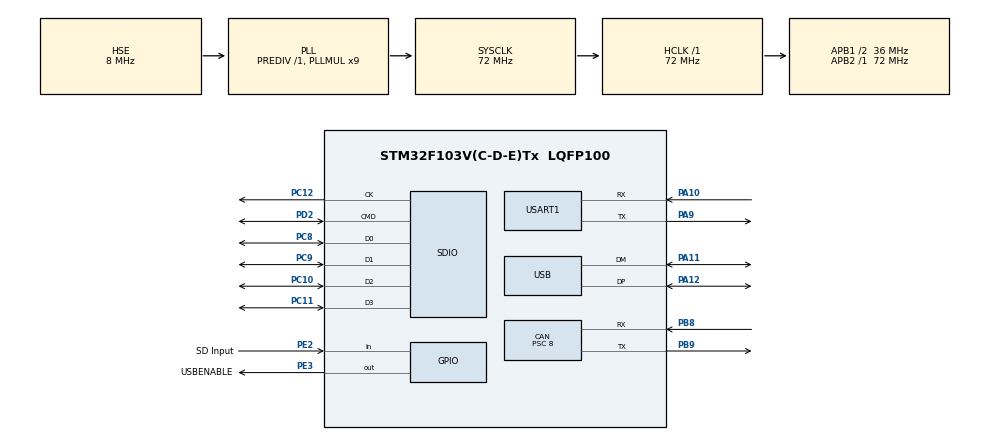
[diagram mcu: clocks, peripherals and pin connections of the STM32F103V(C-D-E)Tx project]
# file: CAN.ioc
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CAN.BS1=CAN_BS1_4TQ
CAN.BS2=CAN_BS2_4TQ
CAN.CalculateBaudRate=500000
CAN.CalculateTimeBit=2000
CAN.CalculateTimeQuantum=222.22222222222223
CAN.Prescaler=8
FATFS.BSP.number=1
FATFS._CODE_PAGE=936
FATFS._USE_LFN=2
FATFS0.BSP.STBoard=false
FATFS0.BSP.api=Unknown
FATFS0.BSP.i2caddr=0
FATFS0.BSP.instance=PE2
FATFS0.BSP.ip=GPIO
FATFS0.BSP.mode=Input
FATFS0.BSP.name=Detect_SDIO
FATFS0.BSP.solution=PE2
FREERTOS.Tasks01=StartTask,0,256,StartTaskEnter,Default,NULL,Dynamic,NULL,NULL;StatusTask,-2,128,StatusTaskEnter,Default,NULL,Dynamic,NULL,NULL
FREERTOS.configCHECK_FOR_STACK_OVERFLOW=2
FREERTOS.configGENERATE_RUN_TIME_STATS=0
FREERTOS.configRECORD_STACK_HIGH_ADDRESS=1
FREERTOS.configTICK_RATE_HZ=1000
FREERTOS.configTOTAL_HEAP_SIZE=30072
FREERTOS.configUSE_APPLICATION_TASK_TAG=0
FREERTOS.configUSE_COUNTING_SEMAPHORES=0
FREERTOS.configUSE_CO_ROUTINES=0
FREERTOS.configUSE_MALLOC_FAILED_HOOK=1
FREERTOS.configUSE_RECURSIVE_MUTEXES=0
FREERTOS.configUSE_STATS_FORMATTING_FUNCTIONS=1
FREERTOS.configUSE_TIMERS=0
FREERTOS.configUSE_TRACE_FACILITY=0
Mcu.Family=STM32F1
Mcu.Name=STM32F103V(C-D-E)Tx
Mcu.Package=LQFP100
NVIC.PriorityGroup=NVIC_PRIORITYGROUP_4
NVIC.TIM1_UP_IRQn=true\:15\:0\:false\:false\:true\:false\:false\:true
NVIC.TIM2_IRQn=true\:5\:0\:false\:false\:true\:true\:true\:true
NVIC.TimeBase=TIM1_UP_IRQn
NVIC.TimeBaseIP=TIM1
NVIC.USB_LP_CAN1_RX0_IRQn=true\:5\:0\:false\:false\:true\:true\:false\:true
OSC_IN.Mode=HSE-External-Oscillator
OSC_IN.Signal=RCC_OSC_IN
OSC_OUT.Mode=HSE-External-Oscillator
OSC_OUT.Signal=RCC_OSC_OUT
PA10.Mode=Asynchronous
PA10.Signal=USART1_RX
PA11.Mode=Device
PA11.Signal=USB_DM
PA12.Mode=Device
PA12.Signal=USB_DP
PA13.Mode=JTAG_4_pins
PA13.Signal=SYS_JTMS-SWDIO
PA14.Mode=JTAG_4_pins
PA14.Signal=SYS_JTCK-SWCLK
PA15.Mode=JTAG_4_pins
PA15.Signal=SYS_JTDI
PA9.Mode=Asynchronous
PA9.Signal=USART1_TX
PB3.Mode=JTAG_4_pins
PB3.Signal=SYS_JTDO-TRACESWO
PB8.Mode=CAN_Activate
PB8.Signal=CAN_RX
PB9.Mode=CAN_Activate
PB9.Signal=CAN_TX
PC10.Mode=SD_4_bits_Wide_bus
PC10.Signal=SDIO_D2
PC11.Mode=SD_4_bits_Wide_bus
PC11.Signal=SDIO_D3
PC12.Mode=SD_4_bits_Wide_bus
PC12.Signal=SDIO_CK
PC8.Mode=SD_4_bits_Wide_bus
PC8.Signal=SDIO_D0
PC9.Mode=SD_4_bits_Wide_bus
PC9.Signal=SDIO_D1
PD2.Mode=SD_4_bits_Wide_bus
PD2.Signal=SDIO_CMD
PE2.GPIO_Label=SD Input
PE2.Signal=GPIO_Input
PE3.GPIO_Label=USBENABLE
PE3.Signal=GPIO_Output
ProjectManager.HeapSize=0x2000
ProjectManager.StackSize=0x2000
ProjectManager.TargetToolchain=MDK-ARM V5.27
RCC.AHBFreq_Value=72000000
RCC.APB1CLKDivider=RCC_HCLK_DIV2
RCC.APB1Freq_Value=36000000
RCC.APB1TimFreq_Value=72000000
RCC.APB2Freq_Value=72000000
RCC.APB2TimFreq_Value=72000000
RCC.HCLKFreq_Value=72000000
RCC.PLLMUL=RCC_PLL_MUL9
RCC.PLLSourceVirtual=RCC_PLLSOURCE_HSE
RCC.SYSCLKFreq_VALUE=72000000
RCC.SYSCLKSource=RCC_SYSCLKSOURCE_PLLCLK
RCC.USBFreq_Value=48000000
RCC.USBPrescaler=RCC_USBCLKSOURCE_PLL_DIV1_5
SDIO.ClockDiv=2
TIM2.AutoReloadPreload=TIM_AUTORELOAD_PRELOAD_ENABLE
TIM2.TIM_MasterOutputTrigger=TIM_TRGO_UPDATE
USART1.VirtualMode=VM_ASYNC
USB_DEVICE.CLASS_NAME_FS=MSC
USB_DEVICE.USBD_DEBUG_LEVEL=3
USB_DEVICE.VirtualMode=Msc
USB_DEVICE.VirtualModeFS=Msc_FS
VP_FATFS_VS_SDIO.Mode=SDIO
VP_FREERTOS_VS_CMSIS_V1.Mode=CMSIS_V1
VP_SYS_VS_tim1.Mode=TIM1
VP_TIM2_VS_ClockSourceINT.Mode=Internal
VP_USB_DEVICE_VS_USB_DEVICE_MSC_FS.Mode=MSC_FS
board=custom

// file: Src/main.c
/* USER CODE BEGIN Header */
/**
 ******************************************************************************
 * @file           : main.c
 * @brief          : Main program body
 ******************************************************************************
 * @attention
 *
 * <h2><center>&copy; Copyright (c) 2021 STMicroelectronics.
 * All rights reserved.</center></h2>
 *
 * This software component is licensed by ST under Ultimate Liberty license
 * SLA0044, the "License"; You may not use this file except in compliance with
 * the License. You may obtain a copy of the License at:
 *                             www.st.com/SLA0044
 *
 ******************************************************************************
 */
/* USER CODE END Header */
#include "main.h"
#include "cmsis_os.h"
#include "fatfs.h"
#include "usb_device.h"

/* USER CODE BEGIN Includes */
#include "bsp103.h"
#include "cm_backtrace.h"

/*主要看用来任务控制函数状态*/
typedef struct tskTaskControlBlock
{
  volatile StackType_t *pxTopOfStack; /*< Points to the location of the last item placed on the tasks stack.  THIS MUST BE THE FIRST MEMBER OF THE TCB STRUCT. */

#if (portUSING_MPU_WRAPPERS == 1)
  xMPU_SETTINGS xMPUSettings; /*< The MPU settings are defined as part of the port layer.  THIS MUST BE THE SECOND MEMBER OF THE TCB STRUCT. */
#endif

  ListItem_t xStateListItem;                                                                                                     /*< The list that the state list item of a task is reference from denotes the state of that task (Ready, Blocked, Suspended ). */
  ListItem_t xEventListItem;                                                                                                     /*< Used to reference a task from an event list. */
  UBaseType_t uxPriority;                                                                                                        /*< The priority of the task.  0 is the lowest priority. */
  StackType_t *pxStack;                                                                                                          /*< Points to the start of the stack. */
  char pcTaskName[configMAX_TASK_NAME_LEN]; /*< Descriptive name given to the task when created.  Facilitates debugging only. */ /*lint !e971 Unqualified char types are allowed for strings and single characters only. */

#if ((portSTACK_GROWTH > 0) || (configRECORD_STACK_HIGH_ADDRESS == 1))
  StackType_t *pxEndOfStack; /*< Points to the highest valid address for the stack. */
#endif

#if (portCRITICAL_NESTING_IN_TCB == 1)
  UBaseType_t uxCriticalNesting; /*< Holds the critical section nesting depth for ports that do not maintain their own count in the port layer. */
#endif

#if (configUSE_TRACE_FACILITY == 1)
  UBaseType_t uxTCBNumber;  /*< Stores a number that increments each time a TCB is created.  It allows debuggers to determine when a task has been deleted and then recreated. */
  UBaseType_t uxTaskNumber; /*< Stores a number specifically for use by third party trace code. */
#endif

#if (configUSE_MUTEXES == 1)
  UBaseType_t uxBasePriority; /*< The priority last assigned to the task - used by the priority inheritance mechanism. */
  UBaseType_t uxMutexesHeld;
#endif

#if (configUSE_APPLICATION_TASK_TAG == 1)
  TaskHookFunction_t pxTaskTag;
#endif

#if (configNUM_THREAD_LOCAL_STORAGE_POINTERS > 0)
  void *pvThreadLocalStoragePointers[configNUM_THREAD_LOCAL_STORAGE_POINTERS];
#endif

#if (configGENERATE_RUN_TIME_STATS == 1)
  uint32_t ulRunTimeCounter; /*< Stores the amount of time the task has spent in the Running state. */
#endif

#if (configUSE_NEWLIB_REENTRANT == 1)
  /* Allocate a Newlib reent structure that is specific to this task.
  Note Newlib support has been included by popular demand, but is not
  used by the FreeRTOS maintainers themselves.  FreeRTOS is not
  responsible for resulting newlib operation.  User must be familiar with
  newlib and must provide system-wide implementations of the necessary
  stubs. Be warned that (at the time of writing) the current newlib design
  implements a system-wide malloc() that must be provided with locks. */
  struct _reent xNewLib_reent;
#endif

#if (configUSE_TASK_NOTIFICATIONS == 1)
  volatile uint32_t ulNotifiedValue;
  volatile uint8_t ucNotifyState;
#endif

/* See the comments above the definition of
tskSTATIC_AND_DYNAMIC_ALLOCATION_POSSIBLE. */
#if (tskSTATIC_AND_DYNAMIC_ALLOCATION_POSSIBLE != 0) /*lint !e731 Macro has been consolidated for readability reasons. */
  uint8_t ucStaticallyAllocated;                     /*< Set to pdTRUE if the task is a statically allocated to ensure no attempt is made to free the memory. */
#endif

#if (INCLUDE_xTaskAbortDelay == 1)
  uint8_t ucDelayAborted;
#endif
/*
主要给CM_BACKTRAC使用,主要追踪HART_FAULT
*/
#if (portSTACK_GROWTH <= 0)
  UBaseType_t uxSizeOfStack; /*< Support For CmBacktrace >*/
#endif

} tskTCB;

/*任务控制块指针*/
tskTCB *StartHandler1;
tskTCB *StartHandler2;
extern void dataProcessing(osThreadId *Thread_P);
/* USER CODE END Includes */

/* USER CODE BEGIN PTD */

DeviceState gState = DEV_START_RECORD;
/* USER CODE END PTD */

CAN_HandleTypeDef hcan;

SD_HandleTypeDef hsd;

TIM_HandleTypeDef htim2;

UART_HandleTypeDef huart1;

osThreadId StartTaskHandle;
osThreadId StatusTaskHandle;
/* USER CODE BEGIN PV */
/*用来计时的任务*/
osThreadId TimeScaleHandle;
/* USER CODE END PV */

void SystemClock_Config(void);
static void MX_GPIO_Init(void);
static void MX_SDIO_SD_Init(void);
// static void MX_USART1_UART_Init(void);
static void MX_CAN_Init(void);
static void MX_TIM2_Init(void);
void StartTaskEnter(void const *argument);
void StatusTaskEnter(void const *argument);

/* USER CODE BEGIN PFP */
void TimeScaleEnter(void const *argument);
/* USER CODE END PFP */

int main(void)
{
  /* USER CODE BEGIN 1 */
  cm_backtrace_init("CmBacktrace", "V1.0.0", "V1.0.0"); //初始化CM_BACKTRACE
  /* USER CODE END 1 */

  /* MCU Configuration--------------------------------------------------------*/

  /* Reset of all peripherals, Initializes the Flash interface and the Systick. */
  HAL_Init();

  /* Configure the system clock */
  SystemClock_Config();

  /* USER CODE BEGIN SysInit */
  MX_GPIO_Init();
  MX_SDIO_SD_Init();
  MX_TIM2_Init();
#if 0
  /* USER CODE END SysInit */

  /* Initialize all configured peripherals */
  MX_GPIO_Init();
  MX_SDIO_SD_Init();
  MX_USART1_UART_Init();
  MX_FATFS_Init();
  MX_CAN_Init();
  MX_TIM2_Init();
  /* USER CODE BEGIN 2 */
#endif
  /* USER CODE END 2 */

  /* Create the thread(s) */
  /* definition and creation of StartTask */
  osThreadDef(StartTask, StartTaskEnter, osPriorityNormal, 0, 800);
  StartTaskHandle = osThreadCreate(osThread(StartTask), NULL);

  /* definition and creation of StatusTask */
  osThreadDef(StatusTask, StatusTaskEnter, osPriorityLow, 0, 128);
  StatusTaskHandle = osThreadCreate(osThread(StatusTask), NULL);

  /* USER CODE BEGIN RTOS_THREADS */
  StartHandler1 = StartTaskHandle;
  StartHandler2 = StatusTaskHandle;
  /* add threads, ... */
  /* USER CODE END RTOS_THREADS */

  /* Start scheduler */
  osKernelStart();

  /* We should never get here as control is now taken by the scheduler */
  /* Infinite loop */
  while (1)
  {

  }
}

void SystemClock_Config(void)
{
  RCC_OscInitTypeDef RCC_OscInitStruct = {0};
  RCC_ClkInitTypeDef RCC_ClkInitStruct = {0};
  RCC_PeriphCLKInitTypeDef PeriphClkInit = {0};

  /** Initializes the RCC Oscillators according to the specified parameters
   * in the RCC_OscInitTypeDef structure.
   */
  RCC_OscInitStruct.OscillatorType = RCC_OSCILLATORTYPE_HSE;
  RCC_OscInitStruct.HSEState = RCC_HSE_ON;
  RCC_OscInitStruct.HSEPredivValue = RCC_HSE_PREDIV_DIV1;
  RCC_OscInitStruct.HSIState = RCC_HSI_ON;
  RCC_OscInitStruct.PLL.PLLState = RCC_PLL_ON;
  RCC_OscInitStruct.PLL.PLLSource = RCC_PLLSOURCE_HSE;
  RCC_OscInitStruct.PLL.PLLMUL = RCC_PLL_MUL9;
  if (HAL_RCC_OscConfig(&RCC_OscInitStruct) != HAL_OK)
  {
    Error_Handler();
  }
  /** Initializes the CPU, AHB and APB buses clocks
   */
  RCC_ClkInitStruct.ClockType = RCC_CLOCKTYPE_HCLK | RCC_CLOCKTYPE_SYSCLK | RCC_CLOCKTYPE_PCLK1 | RCC_CLOCKTYPE_PCLK2;
  RCC_ClkInitStruct.SYSCLKSource = RCC_SYSCLKSOURCE_PLLCLK;
  RCC_ClkInitStruct.AHBCLKDivider = RCC_SYSCLK_DIV1;
  RCC_ClkInitStruct.APB1CLKDivider = RCC_HCLK_DIV2;
  RCC_ClkInitStruct.APB2CLKDivider = RCC_HCLK_DIV1;

  if (HAL_RCC_ClockConfig(&RCC_ClkInitStruct, FLASH_LATENCY_2) != HAL_OK)
  {
    Error_Handler();
  }
  PeriphClkInit.PeriphClockSelection = RCC_PERIPHCLK_USB;
  PeriphClkInit.UsbClockSelection = RCC_USBCLKSOURCE_PLL_DIV1_5;
  if (HAL_RCCEx_PeriphCLKConfig(&PeriphClkInit) != HAL_OK)
  {
    Error_Handler();
  }
}

static void MX_CAN_Init(void)
{

  hcan.Instance = CAN1;
  hcan.Init.Prescaler = 8;
  hcan.Init.Mode = CAN_MODE_NORMAL;
  hcan.Init.SyncJumpWidth = CAN_SJW_1TQ;
  hcan.Init.TimeSeg1 = CAN_BS1_4TQ;
  hcan.Init.TimeSeg2 = CAN_BS2_4TQ;
  hcan.Init.TimeTriggeredMode = DISABLE;
  hcan.Init.AutoBusOff = DISABLE;
  hcan.Init.AutoWakeUp = DISABLE;
  hcan.Init.AutoRetransmission = DISABLE;
  hcan.Init.ReceiveFifoLocked = DISABLE;
  hcan.Init.TransmitFifoPriority = DISABLE;
  if (HAL_CAN_Init(&hcan) != HAL_OK)
  {
    Error_Handler();
  }
}

static void MX_SDIO_SD_Init(void)
{

  hsd.Instance = SDIO;
  hsd.Init.ClockEdge = SDIO_CLOCK_EDGE_RISING;
  hsd.Init.ClockBypass = SDIO_CLOCK_BYPASS_DISABLE;
  hsd.Init.ClockPowerSave = SDIO_CLOCK_POWER_SAVE_DISABLE;
  hsd.Init.BusWide = SDIO_BUS_WIDE_1B;
  hsd.Init.HardwareFlowControl = SDIO_HARDWARE_FLOW_CONTROL_DISABLE;
  hsd.Init.ClockDiv = 2;
  /* USER CODE BEGIN SDIO_Init 2 */
  if (HAL_SD_Init(&hsd) != HAL_OK)
  {
    Error_Handler();
  }
  if (HAL_SD_ConfigWideBusOperation(&hsd, SDIO_BUS_WIDE_4B) != HAL_OK)
  {
    Error_Handler();
  }
  /* USER CODE END SDIO_Init 2 */
}

static void MX_TIM2_Init(void)
{

  TIM_ClockConfigTypeDef sClockSourceConfig = {0};
  TIM_MasterConfigTypeDef sMasterConfig = {0};

  htim2.Instance = TIM2;
  htim2.Init.Prescaler = 10000;
  htim2.Init.CounterMode = TIM_COUNTERMODE_UP;
  htim2.Init.Period = 1800;
  htim2.Init.ClockDivision = TIM_CLOCKDIVISION_DIV1;
  htim2.Init.AutoReloadPreload = TIM_AUTORELOAD_PRELOAD_ENABLE;
  if (HAL_TIM_Base_Init(&htim2) != HAL_OK)
  {
    Error_Handler();
  }
  sClockSourceConfig.ClockSource = TIM_CLOCKSOURCE_INTERNAL;
  if (HAL_TIM_ConfigClockSource(&htim2, &sClockSourceConfig) != HAL_OK)
  {
    Error_Handler();
  }
  sMasterConfig.MasterOutputTrigger = TIM_TRGO_UPDATE;
  sMasterConfig.MasterSlaveMode = TIM_MASTERSLAVEMODE_DISABLE;
  if (HAL_TIMEx_MasterConfigSynchronization(&htim2, &sMasterConfig) != HAL_OK)
  {
    Error_Handler();
  }
  /* USER CODE BEGIN TIM2_Init 2 */
	HAL_TIM_Base_Start_IT(&htim2);
  /* USER CODE END TIM2_Init 2 */
}

#if 0
static void MX_USART1_UART_Init(void)
{

  huart1.Instance = USART1;
  huart1.Init.BaudRate = 115200;
  huart1.Init.WordLength = UART_WORDLENGTH_8B;
  huart1.Init.StopBits = UART_STOPBITS_1;
  huart1.Init.Parity = UART_PARITY_NONE;
  huart1.Init.Mode = UART_MODE_TX_RX;
  huart1.Init.HwFlowCtl = UART_HWCONTROL_NONE;
  huart1.Init.OverSampling = UART_OVERSAMPLING_16;
  if (HAL_UART_Init(&huart1) != HAL_OK)
  {
    Error_Handler();
  }
}
#endif
static void MX_GPIO_Init(void)
{
  GPIO_InitTypeDef GPIO_InitStruct = {0};

  /* GPIO Ports Clock Enable */
  __HAL_RCC_GPIOE_CLK_ENABLE();
  __HAL_RCC_GPIOC_CLK_ENABLE();
  __HAL_RCC_GPIOA_CLK_ENABLE();
  __HAL_RCC_GPIOD_CLK_ENABLE();
  __HAL_RCC_GPIOB_CLK_ENABLE();

  /*Configure GPIO pin Output Level */
  HAL_GPIO_WritePin(USBENABLE_GPIO_Port, USBENABLE_Pin, GPIO_PIN_RESET);

  /*Configure GPIO pin : SD_Input_Pin */
  GPIO_InitStruct.Pin = SD_Input_Pin;
  GPIO_InitStruct.Mode = GPIO_MODE_INPUT;
  GPIO_InitStruct.Pull = GPIO_NOPULL;
  HAL_GPIO_Init(SD_Input_GPIO_Port, &GPIO_InitStruct);

  /*Configure GPIO pin : USBENABLE_Pin */
  GPIO_InitStruct.Pin = USBENABLE_Pin;
  GPIO_InitStruct.Mode = GPIO_MODE_OUTPUT_PP;
  GPIO_InitStruct.Pull = GPIO_NOPULL;
  GPIO_InitStruct.Speed = GPIO_SPEED_FREQ_LOW;
  HAL_GPIO_Init(USBENABLE_GPIO_Port, &GPIO_InitStruct);
}

void StartTaskEnter(void const *argument)
{
  /* init code for USB_DEVICE */
  // MX_USB_DEVICE_Init();
  /* USER CODE BEGIN 5 */
  /* Infinite loop */
  for (;;)
  {
    if (gState == DEV_RECORDING)
    {
      dataProcessing(&StartTaskHandle);
    }
    else
    {
      osDelay(50);
    }
  }
  /* USER CODE END 5 */
}

void StatusTaskEnter(void const *argument)
{
  /* USER CODE BEGIN StatusTaskEnter */
  uint8_t KeyStatus = 0;

  bsp_Init();
  /* Infinite loop */
  for (;;)
  {
    switch (KeyStatus)
    {
    case KEY_1_LONG:
      gState = DEV_STOP_RECORD; //长按按键进入USB记录模式
      /* code */
      break;

    default:
      break;
    }
    /* */
    switch (gState)
    {
    case DEV_IDLE:
      break;
    case DEV_START_RECORD:
      MX_CAN_Init();
      bsp_InitCan();
      MX_FATFS_Init();
      gState = DEV_RECORDING;
      break;
    case DEV_STOP_RECORD:
      if (HAL_CAN_DeInit(&hcan) != HAL_OK)
      {
        Error_Handler();
      }; //去初始化CAN模块,跟USB共用内存,不去初始化会出现错误
      MX_USB_DEVICE_Init();
      gState = DEV_IDLE;
      break;
    case DEV_RECORDING:
      break;
    }
    osDelay(100);
  }
  /* USER CODE END StatusTaskEnter */
}

void HAL_TIM_PeriodElapsedCallback(TIM_HandleTypeDef *htim)
{
  if (htim->Instance == TIM1)
  {
    HAL_IncTick();
  }
  else if (htim->Instance == TIM2)
  {
    bsp_LedToggle(3);
  }
  /* USER CODE BEGIN Callback 1 */
}
#if 0

  /* USER CODE END Callback 1 */
}

void Error_Handler(void)
{
  __disable_irq();
  while (1)
    {
    }
}
#endif
/* USE_FULL_ASSERT */

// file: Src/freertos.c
/* USER CODE BEGIN Header */
/**
  ******************************************************************************
  * File Name          : freertos.c
  * Description        : Code for freertos applications
  ******************************************************************************
  * @attention
  *
  * <h2><center>&copy; Copyright (c) 2021 STMicroelectronics.
  * All rights reserved.</center></h2>
  *
  * This software component is licensed by ST under Ultimate Liberty license
  * SLA0044, the "License"; You may not use this file except in compliance with
  * the License. You may obtain a copy of the License at:
  *                             www.st.com/SLA0044
  *
  ******************************************************************************
  */
/* USER CODE END Header */

#include "FreeRTOS.h"
#include "task.h"
#include "main.h"

/* USER CODE BEGIN Includes */
#include "bsp103.h"
/* USER CODE END Includes */

/* GetIdleTaskMemory prototype (linked to static allocation support) */
void vApplicationGetIdleTaskMemory( StaticTask_t **ppxIdleTaskTCBBuffer, StackType_t **ppxIdleTaskStackBuffer, uint32_t *pulIdleTaskStackSize );

/* Hook prototypes */
void vApplicationStackOverflowHook(xTaskHandle xTask, signed char *pcTaskName);
void vApplicationMallocFailedHook(void);

/* USER CODE BEGIN 4 */
void vApplicationStackOverflowHook(xTaskHandle xTask, signed char *pcTaskName)
{
	printf("FREERTOS栈溢出");
	while(1);
   /* Run time stack overflow checking is performed if
   configCHECK_FOR_STACK_OVERFLOW is defined to 1 or 2. This hook function is
   called if a stack overflow is detected. */
}
/* USER CODE END 4 */

/* USER CODE BEGIN 5 */
void vApplicationMallocFailedHook(void)
{
	printf("freertos内存分配失败");
	while(1);
   /* vApplicationMallocFailedHook() will only be called if
   configUSE_MALLOC_FAILED_HOOK is set to 1 in FreeRTOSConfig.h. It is a hook
   function that will get called if a call to pvPortMalloc() fails.
   pvPortMalloc() is called internally by the kernel whenever a task, queue,
   timer or semaphore is created. It is also called by various parts of the
   demo application. If heap_1.c or heap_2.c are used, then the size of the
   heap available to pvPortMalloc() is defined by configTOTAL_HEAP_SIZE in
   FreeRTOSConfig.h, and the xPortGetFreeHeapSize() API function can be used
   to query the size of free heap space that remains (although it does not
   provide information on how the remaining heap might be fragmented). */
}
/* USER CODE END 5 */

/* USER CODE BEGIN GET_IDLE_TASK_MEMORY */
static StaticTask_t xIdleTaskTCBBuffer;
static StackType_t xIdleStack[configMINIMAL_STACK_SIZE];

void vApplicationGetIdleTaskMemory( StaticTask_t **ppxIdleTaskTCBBuffer, StackType_t **ppxIdleTaskStackBuffer, uint32_t *pulIdleTaskStackSize )
{
  *ppxIdleTaskTCBBuffer = &xIdleTaskTCBBuffer;
  *ppxIdleTaskStackBuffer = &xIdleStack[0];
  *pulIdleTaskStackSize = configMINIMAL_STACK_SIZE;
  /* place for user code */
}
/* USER CODE END GET_IDLE_TASK_MEMORY */
